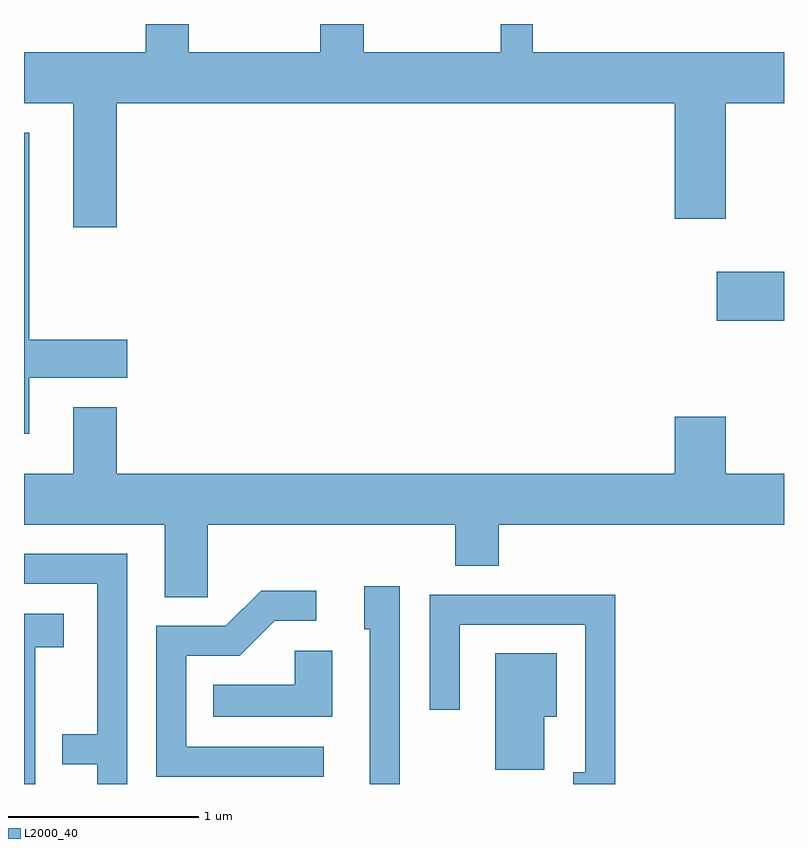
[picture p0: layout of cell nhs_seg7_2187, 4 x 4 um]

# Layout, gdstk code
import gdstk
lib = gdstk.Library(unit=1e-6, precision=1e-09)
def R(c, l, rs):  # rectangles x0, y0, x1, y1
    for r in rs: c.add(gdstk.rectangle(r[:2], r[2:], *l))
def P(c, l, *ps):  # polygons
    for p in ps: c.add(gdstk.Polygon(p, *l))
L2000_40 = (2000, 40)

nhs_seg7_2187 = lib.new_cell('nhs_seg7_2187')
R(nhs_seg7_2187, L2000_40, [(255.256,1748.691,255.611,1748.949)])
P(nhs_seg7_2187, L2000_40, [(252.099,1749.836),(255.036,1749.836),(255.036,1749.226),(255.304,1749.226),(255.304,1749.836),(255.611,1749.836),(255.611,1750.104),(254.289,1750.104),(254.289,1750.252),(254.121,1750.252),(254.121,1750.104),(253.399,1750.104),(253.399,1750.252),(253.171,1750.252),(253.171,1750.104),(252.479,1750.104),(252.479,1750.252),(252.251,1750.252),(252.251,1750.104),(251.611,1750.104),(251.611,1749.836),(251.871,1749.836),(251.871,1749.181),(252.099,1749.181)],
  [(251.639,1748.391),(252.154,1748.391),(252.154,1748.589),(251.639,1748.589),(251.639,1749.679),(251.611,1749.679),(251.611,1748.096),(251.639,1748.096)],
  [(252.579,1747.616),(253.881,1747.616),(253.881,1747.401),(254.109,1747.401),(254.109,1747.616),(255.611,1747.616),(255.611,1747.884),(255.304,1747.884),(255.304,1748.184),(255.036,1748.184),(255.036,1747.884),(252.099,1747.884),(252.099,1748.234),(251.871,1748.234),(251.871,1747.884),(251.611,1747.884),(251.611,1747.616),(252.351,1747.616),(252.351,1747.236),(252.579,1747.236)],
  [(252.154,1747.464),(251.611,1747.464),(251.611,1747.306),(251.996,1747.306),(251.996,1746.514),(251.813,1746.514),(251.813,1746.356),(251.996,1746.356),(251.996,1746.252),(252.154,1746.252)],
  [(253.589,1747.294),(253.401,1747.294),(253.401,1747.066),(253.431,1747.066),(253.431,1746.252),(253.589,1746.252)],
  [(253.188,1746.449),(252.464,1746.449),(252.464,1746.926),(252.747,1746.926),(252.932,1747.111),(253.148,1747.111),(253.148,1747.269),(252.859,1747.269),(252.674,1747.084),(252.306,1747.084),(252.306,1746.291),(253.188,1746.291)],
  [(254.724,1747.249),(253.746,1747.249),(253.746,1746.643),(253.904,1746.643),(253.904,1747.091),(254.566,1747.091),(254.566,1746.314),(254.501,1746.314),(254.501,1746.252),(254.724,1746.252)],
  [(251.669,1746.971),(251.819,1746.971),(251.819,1747.149),(251.611,1747.149),(251.611,1746.252),(251.669,1746.252)],
  [(253.234,1746.954),(253.036,1746.954),(253.036,1746.774),(252.608,1746.774),(252.608,1746.606),(253.234,1746.606)],
  [(254.349,1746.606),(254.414,1746.606),(254.414,1746.939),(254.091,1746.939),(254.091,1746.326),(254.349,1746.326)])

lib.write_gds('nhs_seg7_2187.gds')
